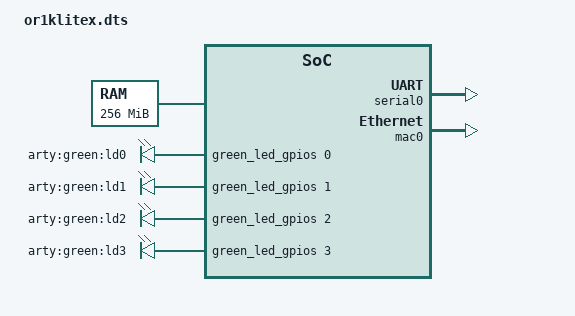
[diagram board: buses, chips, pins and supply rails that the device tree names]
// SPDX-License-Identifier: GPL-2.0
/*
 * LiteX-based System on Chip
 *
 * Copyright (C) 2019 Antmicro <www.antmicro.com>
 */

/dts-v1/;

#include <dt-bindings/gpio/gpio.h>

/ {
	compatible = "opencores,or1klitex";
	#address-cells = <1>;
	#size-cells = <1>;
	interrupt-parent = <&pic>;

	aliases {
		serial0 = &serial0;
	};

	chosen {
		stdout-path = &serial0;
	};

	memory@0 {
		device_type = "memory";
		reg = <0x00000000 0x10000000>;
	};

	cpus {
		#address-cells = <1>;
		#size-cells = <0>;
		cpu@0 {
			compatible = "opencores,or1200-rtlsvn481";
			reg = <0>;
			clock-frequency = <100000000>;
		};
	};

	leds {
		compatible = "gpio-leds";

		ld0 {
			label = "arty:green:ld0";
			linux,default-trigger = "heartbeat";
			gpios = <&green_led_gpios 0 GPIO_ACTIVE_HIGH>;
		};

		ld1 {
			label = "arty:green:ld1";
			gpios = <&green_led_gpios 1 GPIO_ACTIVE_HIGH>;
			panic-indicator;
		};

		ld2 {
			label = "arty:green:ld2";
			gpios = <&green_led_gpios 2 GPIO_ACTIVE_HIGH>;
		};

		ld3 {
			label = "arty:green:ld3";
			gpios = <&green_led_gpios 3 GPIO_ACTIVE_HIGH>;
		};
	};

	pic: pic {
		compatible = "opencores,or1k-pic-level";
		#interrupt-cells = <1>;
		interrupt-controller;
	};

	serial0: serial@e0002000 {
		device_type = "serial";
		compatible = "litex,liteuart";
		reg = <0xe0002000 0x100>;
		interrupts = <0>;
	};

	soc_ctrl0: soc_controller@e0000000 {
		compatible = "litex,soc-controller";
		reg = <0xe0000000 0xc>;
	};

	mac0: mac@e0004800 {
		compatible = "litex,liteeth";
		reg = <0xe0004800 0x7c
		       0xe0004000 0x0a
		       0x80000000 0x2000>;
		tx-fifo-depth = <2>;
		rx-fifo-depth = <2>;
		interrupts = <2>;
	};

	green_led_gpios: gpio@e0005000 {
		compatible = "wd,mbl-gpio", "basic-mmio-gpio";
		reg = <0xe0005000 0x1>;
		reg-names = "dat";

		gpio-controller;
		#gpio-cells = <2>;
		gpio-line-names = "ld0", "ld1", "ld2", "ld3", "", "", "", "";
	};
};
